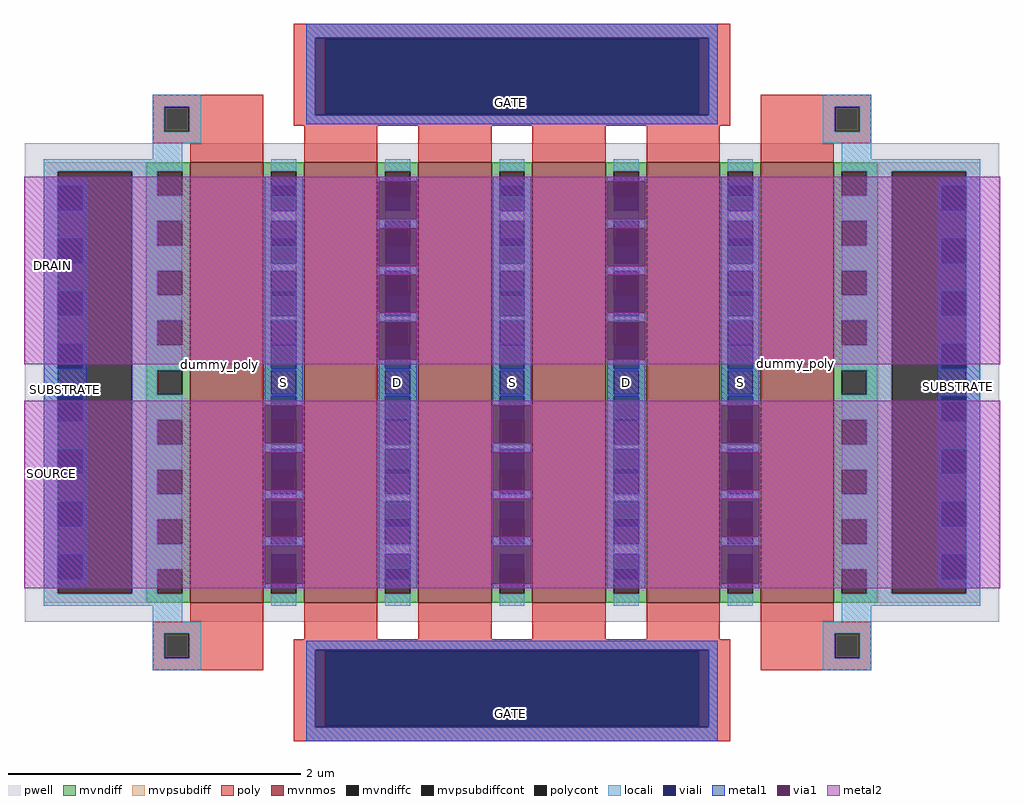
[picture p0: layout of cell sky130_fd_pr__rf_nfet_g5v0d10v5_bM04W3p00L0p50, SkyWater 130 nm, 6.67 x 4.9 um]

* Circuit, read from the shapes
.subckt sky130_fd_pr__rf_nfet_g5v0d10v5_bM04W3p00L0p50 DRAIN GATE SOURCE SUBSTRATE
XM1 SOURCE SUBSTRATE SUBSTRATE SUBSTRATE sky130_fd_pr__nfet_g5v0d10v5 w=3.01 l=0.5 m=2
XM2 DRAIN GATE SOURCE SUBSTRATE sky130_fd_pr__nfet_g5v0d10v5 w=3.01 l=0.5 m=4
.ends

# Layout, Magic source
magic
tech sky130A
magscale 1 2
<< pwell >>
rect 15 163 1347 817
<< mvnmos >>
rect 241 189 341 791
rect 397 189 497 791
rect 553 189 653 791
rect 709 189 809 791
rect 865 189 965 791
rect 1021 189 1121 791
<< mvndiff >>
rect 181 779 241 791
rect 181 745 196 779
rect 230 745 241 779
rect 181 711 241 745
rect 181 677 196 711
rect 230 677 241 711
rect 181 643 241 677
rect 181 609 196 643
rect 230 609 241 643
rect 181 575 241 609
rect 181 541 196 575
rect 230 541 241 575
rect 181 507 241 541
rect 181 473 196 507
rect 230 473 241 507
rect 181 439 241 473
rect 181 405 196 439
rect 230 405 241 439
rect 181 371 241 405
rect 181 337 196 371
rect 230 337 241 371
rect 181 303 241 337
rect 181 269 196 303
rect 230 269 241 303
rect 181 235 241 269
rect 181 201 196 235
rect 230 201 241 235
rect 181 189 241 201
rect 341 779 397 791
rect 341 745 352 779
rect 386 745 397 779
rect 341 711 397 745
rect 341 677 352 711
rect 386 677 397 711
rect 341 643 397 677
rect 341 609 352 643
rect 386 609 397 643
rect 341 575 397 609
rect 341 541 352 575
rect 386 541 397 575
rect 341 507 397 541
rect 341 473 352 507
rect 386 473 397 507
rect 341 439 397 473
rect 341 405 352 439
rect 386 405 397 439
rect 341 371 397 405
rect 341 337 352 371
rect 386 337 397 371
rect 341 303 397 337
rect 341 269 352 303
rect 386 269 397 303
rect 341 235 397 269
rect 341 201 352 235
rect 386 201 397 235
rect 341 189 397 201
rect 497 779 553 791
rect 497 745 508 779
rect 542 745 553 779
rect 497 711 553 745
rect 497 677 508 711
rect 542 677 553 711
rect 497 643 553 677
rect 497 609 508 643
rect 542 609 553 643
rect 497 575 553 609
rect 497 541 508 575
rect 542 541 553 575
rect 497 507 553 541
rect 497 473 508 507
rect 542 473 553 507
rect 497 439 553 473
rect 497 405 508 439
rect 542 405 553 439
rect 497 371 553 405
rect 497 337 508 371
rect 542 337 553 371
rect 497 303 553 337
rect 497 269 508 303
rect 542 269 553 303
rect 497 235 553 269
rect 497 201 508 235
rect 542 201 553 235
rect 497 189 553 201
rect 653 779 709 791
rect 653 745 664 779
rect 698 745 709 779
rect 653 711 709 745
rect 653 677 664 711
rect 698 677 709 711
rect 653 643 709 677
rect 653 609 664 643
rect 698 609 709 643
rect 653 575 709 609
rect 653 541 664 575
rect 698 541 709 575
rect 653 507 709 541
rect 653 473 664 507
rect 698 473 709 507
rect 653 439 709 473
rect 653 405 664 439
rect 698 405 709 439
rect 653 371 709 405
rect 653 337 664 371
rect 698 337 709 371
rect 653 303 709 337
rect 653 269 664 303
rect 698 269 709 303
rect 653 235 709 269
rect 653 201 664 235
rect 698 201 709 235
rect 653 189 709 201
rect 809 779 865 791
rect 809 745 820 779
rect 854 745 865 779
rect 809 711 865 745
rect 809 677 820 711
rect 854 677 865 711
rect 809 643 865 677
rect 809 609 820 643
rect 854 609 865 643
rect 809 575 865 609
rect 809 541 820 575
rect 854 541 865 575
rect 809 507 865 541
rect 809 473 820 507
rect 854 473 865 507
rect 809 439 865 473
rect 809 405 820 439
rect 854 405 865 439
rect 809 371 865 405
rect 809 337 820 371
rect 854 337 865 371
rect 809 303 865 337
rect 809 269 820 303
rect 854 269 865 303
rect 809 235 865 269
rect 809 201 820 235
rect 854 201 865 235
rect 809 189 865 201
rect 965 779 1021 791
rect 965 745 976 779
rect 1010 745 1021 779
rect 965 711 1021 745
rect 965 677 976 711
rect 1010 677 1021 711
rect 965 643 1021 677
rect 965 609 976 643
rect 1010 609 1021 643
rect 965 575 1021 609
rect 965 541 976 575
rect 1010 541 1021 575
rect 965 507 1021 541
rect 965 473 976 507
rect 1010 473 1021 507
rect 965 439 1021 473
rect 965 405 976 439
rect 1010 405 1021 439
rect 965 371 1021 405
rect 965 337 976 371
rect 1010 337 1021 371
rect 965 303 1021 337
rect 965 269 976 303
rect 1010 269 1021 303
rect 965 235 1021 269
rect 965 201 976 235
rect 1010 201 1021 235
rect 965 189 1021 201
rect 1121 779 1181 791
rect 1121 745 1132 779
rect 1166 745 1181 779
rect 1121 711 1181 745
rect 1121 677 1132 711
rect 1166 677 1181 711
rect 1121 643 1181 677
rect 1121 609 1132 643
rect 1166 609 1181 643
rect 1121 575 1181 609
rect 1121 541 1132 575
rect 1166 541 1181 575
rect 1121 507 1181 541
rect 1121 473 1132 507
rect 1166 473 1181 507
rect 1121 439 1181 473
rect 1121 405 1132 439
rect 1166 405 1181 439
rect 1121 371 1181 405
rect 1121 337 1132 371
rect 1166 337 1181 371
rect 1121 303 1181 337
rect 1121 269 1132 303
rect 1166 269 1181 303
rect 1121 235 1181 269
rect 1121 201 1132 235
rect 1166 201 1181 235
rect 1121 189 1181 201
<< mvndiffc >>
rect 196 745 230 779
rect 196 677 230 711
rect 196 609 230 643
rect 196 541 230 575
rect 196 473 230 507
rect 196 405 230 439
rect 196 337 230 371
rect 196 269 230 303
rect 196 201 230 235
rect 352 745 386 779
rect 352 677 386 711
rect 352 609 386 643
rect 352 541 386 575
rect 352 473 386 507
rect 352 405 386 439
rect 352 337 386 371
rect 352 269 386 303
rect 352 201 386 235
rect 508 745 542 779
rect 508 677 542 711
rect 508 609 542 643
rect 508 541 542 575
rect 508 473 542 507
rect 508 405 542 439
rect 508 337 542 371
rect 508 269 542 303
rect 508 201 542 235
rect 664 745 698 779
rect 664 677 698 711
rect 664 609 698 643
rect 664 541 698 575
rect 664 473 698 507
rect 664 405 698 439
rect 664 337 698 371
rect 664 269 698 303
rect 664 201 698 235
rect 820 745 854 779
rect 820 677 854 711
rect 820 609 854 643
rect 820 541 854 575
rect 820 473 854 507
rect 820 405 854 439
rect 820 337 854 371
rect 820 269 854 303
rect 820 201 854 235
rect 976 745 1010 779
rect 976 677 1010 711
rect 976 609 1010 643
rect 976 541 1010 575
rect 976 473 1010 507
rect 976 405 1010 439
rect 976 337 1010 371
rect 976 269 1010 303
rect 976 201 1010 235
rect 1132 745 1166 779
rect 1132 677 1166 711
rect 1132 609 1166 643
rect 1132 541 1166 575
rect 1132 473 1166 507
rect 1132 405 1166 439
rect 1132 337 1166 371
rect 1132 269 1166 303
rect 1132 201 1166 235
<< mvpsubdiff >>
rect 41 779 181 791
rect 41 201 60 779
rect 162 201 181 779
rect 41 189 181 201
rect 1181 779 1321 791
rect 1181 201 1200 779
rect 1302 201 1321 779
rect 1181 189 1321 201
<< mvpsubdiffcont >>
rect 60 201 162 779
rect 1200 201 1302 779
<< poly >>
rect 383 959 979 980
rect 190 867 341 883
rect 190 833 206 867
rect 240 833 341 867
rect 383 857 426 959
rect 936 857 979 959
rect 383 841 979 857
rect 1021 867 1172 883
rect 190 817 341 833
rect 241 791 341 817
rect 397 791 497 841
rect 553 791 653 841
rect 709 791 809 841
rect 865 791 965 841
rect 1021 833 1122 867
rect 1156 833 1172 867
rect 1021 817 1172 833
rect 1021 791 1121 817
rect 241 163 341 189
rect 190 147 341 163
rect 190 113 206 147
rect 240 113 341 147
rect 397 139 497 189
rect 553 139 653 189
rect 709 139 809 189
rect 865 139 965 189
rect 1021 163 1121 189
rect 1021 147 1172 163
rect 190 97 341 113
rect 383 123 979 139
rect 383 21 426 123
rect 936 21 979 123
rect 1021 113 1122 147
rect 1156 113 1172 147
rect 1021 97 1172 113
rect 383 0 979 21
<< polycont >>
rect 206 833 240 867
rect 426 857 936 959
rect 1122 833 1156 867
rect 206 113 240 147
rect 426 21 936 123
rect 1122 113 1156 147
<< locali >>
rect 400 961 962 980
rect 190 867 256 883
rect 190 833 206 867
rect 240 833 256 867
rect 400 855 412 961
rect 950 855 962 961
rect 400 843 962 855
rect 1106 867 1172 883
rect 190 817 256 833
rect 1106 833 1122 867
rect 1156 833 1172 867
rect 1106 817 1172 833
rect 190 795 230 817
rect 1132 795 1172 817
rect 41 779 230 795
rect 41 201 60 779
rect 162 745 196 779
rect 162 711 230 745
rect 162 677 196 711
rect 162 643 230 677
rect 162 609 196 643
rect 162 575 230 609
rect 162 541 196 575
rect 162 507 230 541
rect 162 473 196 507
rect 162 439 230 473
rect 162 405 196 439
rect 162 371 230 405
rect 162 337 196 371
rect 162 303 230 337
rect 162 269 196 303
rect 162 235 230 269
rect 162 201 196 235
rect 41 185 230 201
rect 352 779 386 795
rect 352 711 386 725
rect 352 643 386 653
rect 352 575 386 581
rect 352 507 386 509
rect 352 471 386 473
rect 352 399 386 405
rect 352 327 386 337
rect 352 255 386 269
rect 352 185 386 201
rect 508 779 542 795
rect 508 711 542 725
rect 508 643 542 653
rect 508 575 542 581
rect 508 507 542 509
rect 508 471 542 473
rect 508 399 542 405
rect 508 327 542 337
rect 508 255 542 269
rect 508 185 542 201
rect 664 779 698 795
rect 664 711 698 725
rect 664 643 698 653
rect 664 575 698 581
rect 664 507 698 509
rect 664 471 698 473
rect 664 399 698 405
rect 664 327 698 337
rect 664 255 698 269
rect 664 185 698 201
rect 820 779 854 795
rect 820 711 854 725
rect 820 643 854 653
rect 820 575 854 581
rect 820 507 854 509
rect 820 471 854 473
rect 820 399 854 405
rect 820 327 854 337
rect 820 255 854 269
rect 820 185 854 201
rect 976 779 1010 795
rect 976 711 1010 725
rect 976 643 1010 653
rect 976 575 1010 581
rect 976 507 1010 509
rect 976 471 1010 473
rect 976 399 1010 405
rect 976 327 1010 337
rect 976 255 1010 269
rect 976 185 1010 201
rect 1132 779 1321 795
rect 1166 745 1200 779
rect 1132 711 1200 745
rect 1166 677 1200 711
rect 1132 643 1200 677
rect 1166 609 1200 643
rect 1132 575 1200 609
rect 1166 541 1200 575
rect 1132 507 1200 541
rect 1166 473 1200 507
rect 1132 439 1200 473
rect 1166 405 1200 439
rect 1132 371 1200 405
rect 1166 337 1200 371
rect 1132 303 1200 337
rect 1166 269 1200 303
rect 1132 235 1200 269
rect 1166 201 1200 235
rect 1302 201 1321 779
rect 1132 185 1321 201
rect 190 163 230 185
rect 1132 163 1172 185
rect 190 147 256 163
rect 190 113 206 147
rect 240 113 256 147
rect 1106 147 1172 163
rect 190 97 256 113
rect 400 125 962 137
rect 400 19 412 125
rect 950 19 962 125
rect 1106 113 1122 147
rect 1156 113 1172 147
rect 1106 97 1172 113
rect 400 0 962 19
<< viali >>
rect 412 959 950 961
rect 412 857 426 959
rect 426 857 936 959
rect 936 857 950 959
rect 412 855 950 857
rect 60 725 94 759
rect 60 653 94 687
rect 60 581 94 615
rect 60 509 94 543
rect 60 437 94 471
rect 60 365 94 399
rect 60 293 94 327
rect 60 221 94 255
rect 352 745 386 759
rect 352 725 386 745
rect 352 677 386 687
rect 352 653 386 677
rect 352 609 386 615
rect 352 581 386 609
rect 352 541 386 543
rect 352 509 386 541
rect 352 439 386 471
rect 352 437 386 439
rect 352 371 386 399
rect 352 365 386 371
rect 352 303 386 327
rect 352 293 386 303
rect 352 235 386 255
rect 352 221 386 235
rect 508 745 542 759
rect 508 725 542 745
rect 508 677 542 687
rect 508 653 542 677
rect 508 609 542 615
rect 508 581 542 609
rect 508 541 542 543
rect 508 509 542 541
rect 508 439 542 471
rect 508 437 542 439
rect 508 371 542 399
rect 508 365 542 371
rect 508 303 542 327
rect 508 293 542 303
rect 508 235 542 255
rect 508 221 542 235
rect 664 745 698 759
rect 664 725 698 745
rect 664 677 698 687
rect 664 653 698 677
rect 664 609 698 615
rect 664 581 698 609
rect 664 541 698 543
rect 664 509 698 541
rect 664 439 698 471
rect 664 437 698 439
rect 664 371 698 399
rect 664 365 698 371
rect 664 303 698 327
rect 664 293 698 303
rect 664 235 698 255
rect 664 221 698 235
rect 820 745 854 759
rect 820 725 854 745
rect 820 677 854 687
rect 820 653 854 677
rect 820 609 854 615
rect 820 581 854 609
rect 820 541 854 543
rect 820 509 854 541
rect 820 439 854 471
rect 820 437 854 439
rect 820 371 854 399
rect 820 365 854 371
rect 820 303 854 327
rect 820 293 854 303
rect 820 235 854 255
rect 820 221 854 235
rect 976 745 1010 759
rect 976 725 1010 745
rect 976 677 1010 687
rect 976 653 1010 677
rect 976 609 1010 615
rect 976 581 1010 609
rect 976 541 1010 543
rect 976 509 1010 541
rect 976 439 1010 471
rect 976 437 1010 439
rect 976 371 1010 399
rect 976 365 1010 371
rect 976 303 1010 327
rect 976 293 1010 303
rect 976 235 1010 255
rect 976 221 1010 235
rect 1268 725 1302 759
rect 1268 653 1302 687
rect 1268 581 1302 615
rect 1268 509 1302 543
rect 1268 437 1302 471
rect 1268 365 1302 399
rect 1268 293 1302 327
rect 1268 221 1302 255
rect 412 123 950 125
rect 412 21 426 123
rect 426 21 936 123
rect 936 21 950 123
rect 412 19 950 21
<< metal1 >>
rect 400 961 962 980
rect 400 855 412 961
rect 950 855 962 961
rect 400 843 962 855
rect 41 759 100 771
rect 41 725 60 759
rect 94 725 100 759
rect 41 687 100 725
rect 41 653 60 687
rect 94 653 100 687
rect 41 615 100 653
rect 41 581 60 615
rect 94 581 100 615
rect 41 543 100 581
rect 41 509 60 543
rect 94 509 100 543
rect 41 471 100 509
rect 41 437 60 471
rect 94 437 100 471
rect 41 399 100 437
rect 41 365 60 399
rect 94 365 100 399
rect 41 327 100 365
rect 41 293 60 327
rect 94 293 100 327
rect 41 255 100 293
rect 41 221 60 255
rect 94 221 100 255
rect 41 209 100 221
rect 343 759 395 771
rect 343 725 352 759
rect 386 725 395 759
rect 343 687 395 725
rect 343 653 352 687
rect 386 653 395 687
rect 343 615 395 653
rect 343 581 352 615
rect 386 581 395 615
rect 343 543 395 581
rect 343 509 352 543
rect 386 509 395 543
rect 343 471 395 509
rect 343 459 352 471
rect 386 459 395 471
rect 343 399 395 407
rect 343 395 352 399
rect 386 395 395 399
rect 343 331 395 343
rect 343 267 395 279
rect 343 209 395 215
rect 499 765 551 771
rect 499 701 551 713
rect 499 637 551 649
rect 499 581 508 585
rect 542 581 551 585
rect 499 573 551 581
rect 499 509 508 521
rect 542 509 551 521
rect 499 471 551 509
rect 499 437 508 471
rect 542 437 551 471
rect 499 399 551 437
rect 499 365 508 399
rect 542 365 551 399
rect 499 327 551 365
rect 499 293 508 327
rect 542 293 551 327
rect 499 255 551 293
rect 499 221 508 255
rect 542 221 551 255
rect 499 209 551 221
rect 655 759 707 771
rect 655 725 664 759
rect 698 725 707 759
rect 655 687 707 725
rect 655 653 664 687
rect 698 653 707 687
rect 655 615 707 653
rect 655 581 664 615
rect 698 581 707 615
rect 655 543 707 581
rect 655 509 664 543
rect 698 509 707 543
rect 655 471 707 509
rect 655 459 664 471
rect 698 459 707 471
rect 655 399 707 407
rect 655 395 664 399
rect 698 395 707 399
rect 655 331 707 343
rect 655 267 707 279
rect 655 209 707 215
rect 811 765 863 771
rect 811 701 863 713
rect 811 637 863 649
rect 811 581 820 585
rect 854 581 863 585
rect 811 573 863 581
rect 811 509 820 521
rect 854 509 863 521
rect 811 471 863 509
rect 811 437 820 471
rect 854 437 863 471
rect 811 399 863 437
rect 811 365 820 399
rect 854 365 863 399
rect 811 327 863 365
rect 811 293 820 327
rect 854 293 863 327
rect 811 255 863 293
rect 811 221 820 255
rect 854 221 863 255
rect 811 209 863 221
rect 967 759 1019 771
rect 967 725 976 759
rect 1010 725 1019 759
rect 967 687 1019 725
rect 967 653 976 687
rect 1010 653 1019 687
rect 967 615 1019 653
rect 967 581 976 615
rect 1010 581 1019 615
rect 967 543 1019 581
rect 967 509 976 543
rect 1010 509 1019 543
rect 967 471 1019 509
rect 967 459 976 471
rect 1010 459 1019 471
rect 967 399 1019 407
rect 967 395 976 399
rect 1010 395 1019 399
rect 967 331 1019 343
rect 967 267 1019 279
rect 967 209 1019 215
rect 1262 759 1321 771
rect 1262 725 1268 759
rect 1302 725 1321 759
rect 1262 687 1321 725
rect 1262 653 1268 687
rect 1302 653 1321 687
rect 1262 615 1321 653
rect 1262 581 1268 615
rect 1302 581 1321 615
rect 1262 543 1321 581
rect 1262 509 1268 543
rect 1302 509 1321 543
rect 1262 471 1321 509
rect 1262 437 1268 471
rect 1302 437 1321 471
rect 1262 399 1321 437
rect 1262 365 1268 399
rect 1302 365 1321 399
rect 1262 327 1321 365
rect 1262 293 1268 327
rect 1302 293 1321 327
rect 1262 255 1321 293
rect 1262 221 1268 255
rect 1302 221 1321 255
rect 1262 209 1321 221
rect 400 125 962 137
rect 400 19 412 125
rect 950 19 962 125
rect 400 0 962 19
<< via1 >>
rect 343 437 352 459
rect 352 437 386 459
rect 386 437 395 459
rect 343 407 395 437
rect 343 365 352 395
rect 352 365 386 395
rect 386 365 395 395
rect 343 343 395 365
rect 343 327 395 331
rect 343 293 352 327
rect 352 293 386 327
rect 386 293 395 327
rect 343 279 395 293
rect 343 255 395 267
rect 343 221 352 255
rect 352 221 386 255
rect 386 221 395 255
rect 343 215 395 221
rect 499 759 551 765
rect 499 725 508 759
rect 508 725 542 759
rect 542 725 551 759
rect 499 713 551 725
rect 499 687 551 701
rect 499 653 508 687
rect 508 653 542 687
rect 542 653 551 687
rect 499 649 551 653
rect 499 615 551 637
rect 499 585 508 615
rect 508 585 542 615
rect 542 585 551 615
rect 499 543 551 573
rect 499 521 508 543
rect 508 521 542 543
rect 542 521 551 543
rect 655 437 664 459
rect 664 437 698 459
rect 698 437 707 459
rect 655 407 707 437
rect 655 365 664 395
rect 664 365 698 395
rect 698 365 707 395
rect 655 343 707 365
rect 655 327 707 331
rect 655 293 664 327
rect 664 293 698 327
rect 698 293 707 327
rect 655 279 707 293
rect 655 255 707 267
rect 655 221 664 255
rect 664 221 698 255
rect 698 221 707 255
rect 655 215 707 221
rect 811 759 863 765
rect 811 725 820 759
rect 820 725 854 759
rect 854 725 863 759
rect 811 713 863 725
rect 811 687 863 701
rect 811 653 820 687
rect 820 653 854 687
rect 854 653 863 687
rect 811 649 863 653
rect 811 615 863 637
rect 811 585 820 615
rect 820 585 854 615
rect 854 585 863 615
rect 811 543 863 573
rect 811 521 820 543
rect 820 521 854 543
rect 854 521 863 543
rect 967 437 976 459
rect 976 437 1010 459
rect 1010 437 1019 459
rect 967 407 1019 437
rect 967 365 976 395
rect 976 365 1010 395
rect 1010 365 1019 395
rect 967 343 1019 365
rect 967 327 1019 331
rect 967 293 976 327
rect 976 293 1010 327
rect 1010 293 1019 327
rect 967 279 1019 293
rect 967 255 1019 267
rect 967 221 976 255
rect 976 221 1010 255
rect 1010 221 1019 255
rect 967 215 1019 221
<< metal2 >>
rect 14 765 1348 771
rect 14 713 499 765
rect 551 713 811 765
rect 863 713 1348 765
rect 14 701 1348 713
rect 14 649 499 701
rect 551 649 811 701
rect 863 649 1348 701
rect 14 637 1348 649
rect 14 585 499 637
rect 551 585 811 637
rect 863 585 1348 637
rect 14 573 1348 585
rect 14 521 499 573
rect 551 521 811 573
rect 863 521 1348 573
rect 14 515 1348 521
rect 14 459 1348 465
rect 14 407 343 459
rect 395 407 655 459
rect 707 407 967 459
rect 1019 407 1348 459
rect 14 395 1348 407
rect 14 343 343 395
rect 395 343 655 395
rect 707 343 967 395
rect 1019 343 1348 395
rect 14 331 1348 343
rect 14 279 343 331
rect 395 279 655 331
rect 707 279 967 331
rect 1019 279 1348 331
rect 14 267 1348 279
rect 14 215 343 267
rect 395 215 655 267
rect 707 215 967 267
rect 1019 215 1348 267
rect 14 209 1348 215
<< labels >>
flabel metal1 s 628 853 729 893 0 FreeSans 400 0 0 0 GATE
port 2 nsew
flabel metal1 s 628 17 729 57 0 FreeSans 200 0 0 0 GATE
port 2 nsew
flabel metal2 s 35 602 70 699 0 FreeSans 400 270 0 0 DRAIN
port 1 nsew
flabel metal2 s 36 313 66 417 0 FreeSans 400 90 0 0 SOURCE
port 3 nsew
flabel comment s 993 490 993 490 0 FreeSans 300 0 0 0 S
flabel comment s 837 490 837 490 0 FreeSans 300 0 0 0 D
flabel comment s 681 490 681 490 0 FreeSans 300 0 0 0 S
flabel comment s 525 490 525 490 0 FreeSans 300 0 0 0 D
flabel comment s 369 490 369 490 0 FreeSans 300 0 0 0 S
flabel comment s 837 490 837 490 0 FreeSans 300 0 0 0 S
flabel comment s 681 490 681 490 0 FreeSans 300 0 0 0 S
flabel comment s 525 490 525 490 0 FreeSans 300 0 0 0 S
flabel comment s 369 490 369 490 0 FreeSans 300 0 0 0 S
flabel comment s 281 514 281 514 0 FreeSans 400 90 0 0 dummy_poly
flabel comment s 1069 516 1069 516 0 FreeSans 400 90 0 0 dummy_poly
flabel metal1 s 41 466 100 496 0 FreeSans 200 90 0 0 SUBSTRATE
port 4 nsew
flabel metal1 s 1262 469 1321 499 0 FreeSans 200 90 0 0 SUBSTRATE
port 4 nsew
<< properties >>
string GDS_FILE $PDKPATH/libs.ref/sky130_fd_pr/gds/sky130_fd_pr.gds
string GDS_END 8642524
string GDS_START 8619970
<< end >>
